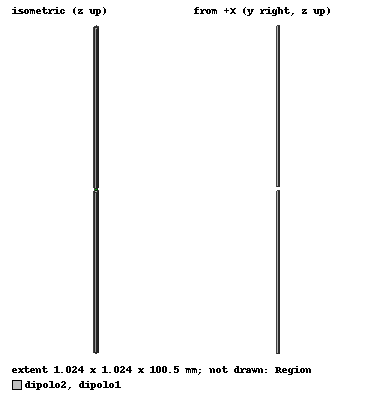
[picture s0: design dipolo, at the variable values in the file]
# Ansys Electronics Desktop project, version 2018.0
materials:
  vacuum: permittivity=1
  aluminum: permeability=1.000021 conductivity=38000000
  air: permittivity=1.0006 permeability=1.0000004

design dipolo (HFSS, DrivenModal, model units mm)
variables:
  landa = 200mm  # tune 62.5mm..187.5mm
  Diametro = 1.02362mm  # tune 0.51181mm..1.53543mm
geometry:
  dipolo1 [aluminum] = cylinder(axis=Z, base_centre=(0mm, 0mm, diametro/2), radius=Diametro/2, height=landa/4-Diametro/2)
  dipolo2 [aluminum] = cylinder(axis=Z, base_centre=(0mm, 0mm, -diametro/2), radius=Diametro/2, height=-landa/4)
  puerto = rectangle(corner=(-diametro/2, 0mm, -diametro/2), z_size=diametro, x_size=Diametro)
  Region [air] = region(absolute_offset=landa/4 on all sides)
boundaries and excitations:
  Rad1: Radiation Objects=Region
  1: Lumped Port Objects=puerto Modes{Mode1{IntLine{middle of puerto.edge(z at corner) -> middle of puerto.edge(z opposite corner)} CharImp=Zpi RenormImp=50ohm}} Impedance=50ohm
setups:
  Setup1: HfssDriven Frequency=2.4GHz MaxDeltaS=0.02 MaximumPasses=6 MinimumPasses=1 MinimumConvergedPasses=1 PercentRefinement=30 BasisOrder=1 PortAccuracy=2
    sweep Sweep1: 1.2GHz to 3.6GHz step 0.02GHz; Type=Interpolating InterpTolerance=0.5 InterpMaxSolns=250 InterpUsePortImped=false PassivityErrorTolerance=0.0001
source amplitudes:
  1:1: 1W 0deg
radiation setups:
  Infinite Sphere1: Infinite Sphere Theta=-180deg..180deg step 2deg Phi=-180deg..180deg step 2deg
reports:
  Gain Plot 1: dB(GainTotal) vs Phi, Theta on Setup1 : LastAdaptive, Infinite Sphere1 [Freq=2.4GHz]
  Gain Plot 2: dB(GainTotal) vs Theta on Setup1 : LastAdaptive, Infinite Sphere1 [Phi=all Freq=2.4GHz]
  VSWR Plot 1: dB(VSWR(1)) vs Freq on Setup1 : Sweep1
  Z Parameter Plot 1: re(Z(1,1)), im(Z(1,1)) vs Freq on Setup1 : Sweep1; markers m1 at 2.22GHz, m2 at 2.54GHz, MX1 at x=1.5012755e+09
  S Parameter Plot 1: dB(S(1,1)) vs Freq on Setup1 : Sweep1 [landa=200mm]
